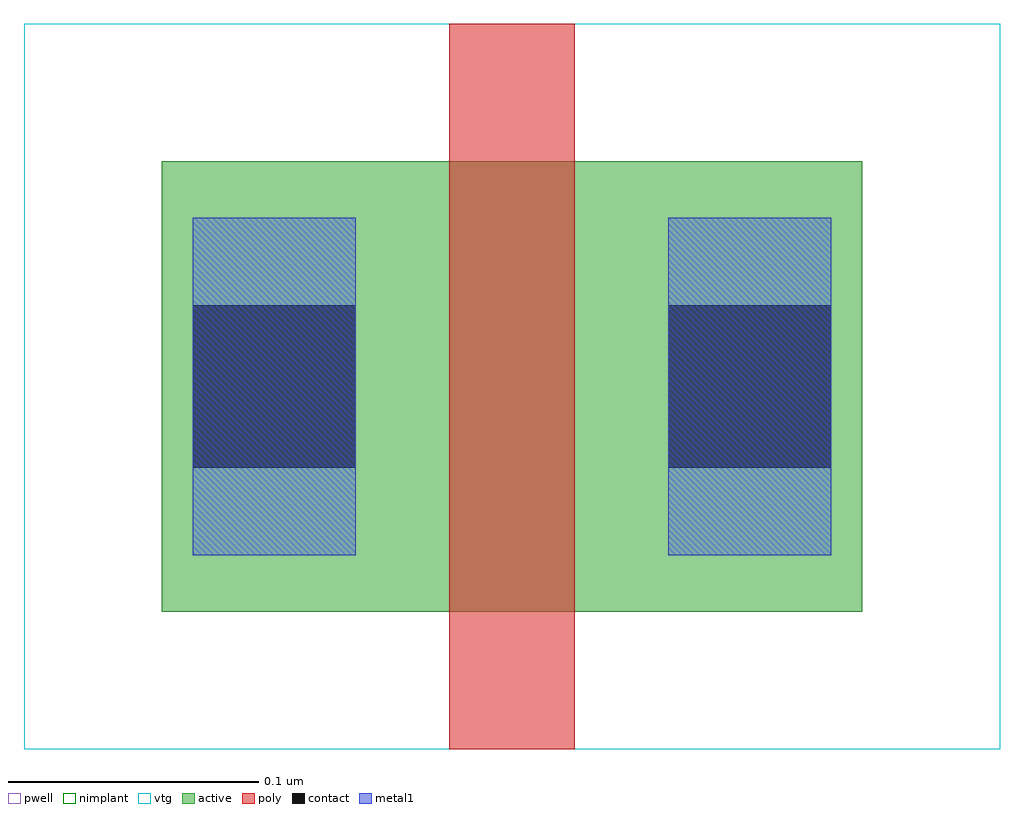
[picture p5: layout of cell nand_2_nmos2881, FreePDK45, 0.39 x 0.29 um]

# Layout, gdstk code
import gdstk
lib = gdstk.Library(unit=1e-6, precision=5e-10)
def R(c, l, rs):  # rectangles x0, y0, x1, y1
    for r in rs: c.add(gdstk.rectangle(r[:2], r[2:], *l))
active = (1, 0)
pwell = (2, 0)
nimplant = (4, 0)
vtg = (6, 0)
poly = (9, 0)
contact = (10, 0)
metal1 = (11, 0)

contact_1x1_num12667 = lib.new_cell('contact_1x1_num12667')
R(contact_1x1_num12667, active, [(0,0.0225,0.09,0.1125)])
R(contact_1x1_num12667, contact, [(0.0125,0.035,0.0775,0.1)])
R(contact_1x1_num12667, metal1, [(0.0125,0,0.0775,0.135)])

contact_1x1_num12668 = lib.new_cell('contact_1x1_num12668')
R(contact_1x1_num12668, active, [(0,0.0225,0.09,0.1125)])
R(contact_1x1_num12668, contact, [(0.0125,0.035,0.0775,0.1)])
R(contact_1x1_num12668, metal1, [(0.0125,0,0.0775,0.135)])

nand_2_nmos2881 = lib.new_cell('nand_2_nmos2881')
R(nand_2_nmos2881, active, [(0.055,0.055,0.335,0.235)])
R(nand_2_nmos2881, pwell, [(0,0,0.39,0.29)])
R(nand_2_nmos2881, nimplant, [(0.055,0.055,0.335,0.235)])
R(nand_2_nmos2881, vtg, [(0,0,0.39,0.29)])
R(nand_2_nmos2881, poly, [(0.17,0,0.22,0.29)])
nand_2_nmos2881.add(gdstk.Reference(contact_1x1_num12667, (0.055,0.0775)))
nand_2_nmos2881.add(gdstk.Reference(contact_1x1_num12668, (0.245,0.0775)))

lib.write_gds('nand_2_nmos2881.gds')
